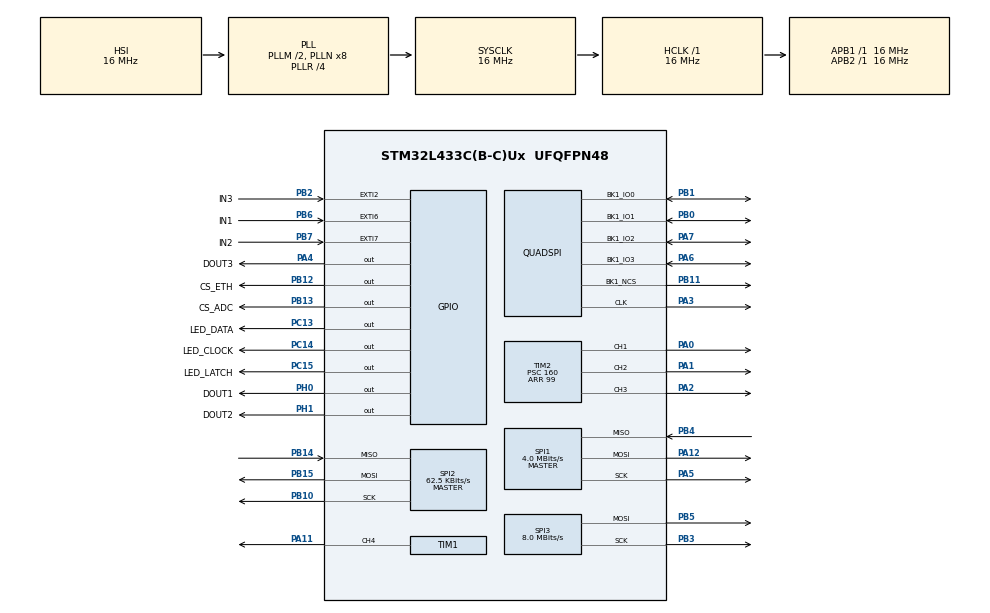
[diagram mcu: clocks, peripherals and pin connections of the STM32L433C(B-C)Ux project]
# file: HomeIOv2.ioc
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Dma.QUADSPI.2.Direction=DMA_PERIPH_TO_MEMORY
Dma.QUADSPI.2.Instance=DMA2_Channel7
Dma.QUADSPI.2.MemDataAlignment=DMA_MDATAALIGN_BYTE
Dma.QUADSPI.2.MemInc=DMA_MINC_ENABLE
Dma.QUADSPI.2.Mode=DMA_NORMAL
Dma.QUADSPI.2.PeriphDataAlignment=DMA_PDATAALIGN_BYTE
Dma.QUADSPI.2.PeriphInc=DMA_PINC_DISABLE
Dma.QUADSPI.2.Priority=DMA_PRIORITY_LOW
Dma.Request0=SPI2_RX
Dma.Request1=SPI2_TX
Dma.Request2=QUADSPI
Dma.Request3=SPI3_TX
Dma.SPI2_RX.0.Direction=DMA_PERIPH_TO_MEMORY
Dma.SPI2_RX.0.Instance=DMA1_Channel4
Dma.SPI2_RX.0.MemDataAlignment=DMA_MDATAALIGN_BYTE
Dma.SPI2_RX.0.MemInc=DMA_MINC_ENABLE
Dma.SPI2_RX.0.Mode=DMA_NORMAL
Dma.SPI2_RX.0.PeriphDataAlignment=DMA_PDATAALIGN_BYTE
Dma.SPI2_RX.0.PeriphInc=DMA_PINC_DISABLE
Dma.SPI2_RX.0.Priority=DMA_PRIORITY_LOW
Dma.SPI2_TX.1.Direction=DMA_MEMORY_TO_PERIPH
Dma.SPI2_TX.1.Instance=DMA1_Channel5
Dma.SPI2_TX.1.MemDataAlignment=DMA_MDATAALIGN_BYTE
Dma.SPI2_TX.1.MemInc=DMA_MINC_ENABLE
Dma.SPI2_TX.1.Mode=DMA_NORMAL
Dma.SPI2_TX.1.PeriphDataAlignment=DMA_PDATAALIGN_BYTE
Dma.SPI2_TX.1.PeriphInc=DMA_PINC_DISABLE
Dma.SPI2_TX.1.Priority=DMA_PRIORITY_LOW
Dma.SPI3_TX.3.Direction=DMA_MEMORY_TO_PERIPH
Dma.SPI3_TX.3.Instance=DMA2_Channel2
Dma.SPI3_TX.3.MemDataAlignment=DMA_MDATAALIGN_BYTE
Dma.SPI3_TX.3.MemInc=DMA_MINC_ENABLE
Dma.SPI3_TX.3.Mode=DMA_NORMAL
Dma.SPI3_TX.3.PeriphDataAlignment=DMA_PDATAALIGN_BYTE
Dma.SPI3_TX.3.PeriphInc=DMA_PINC_DISABLE
Dma.SPI3_TX.3.Priority=DMA_PRIORITY_LOW
Mcu.Family=STM32L4
Mcu.Name=STM32L433C(B-C)Ux
Mcu.Package=UFQFPN48
NVIC.DMA1_Channel4_IRQn=true\:0\:0\:false\:false\:true\:false\:true\:true
NVIC.DMA1_Channel5_IRQn=true\:0\:0\:false\:false\:true\:false\:true\:true
NVIC.DMA2_Channel2_IRQn=true\:0\:0\:false\:false\:true\:false\:true\:true
NVIC.DMA2_Channel7_IRQn=true\:0\:0\:false\:false\:true\:false\:true\:true
NVIC.EXTI2_IRQn=true\:0\:0\:false\:false\:true\:true\:true\:true
NVIC.EXTI9_5_IRQn=true\:0\:0\:false\:false\:true\:true\:true\:true
NVIC.PriorityGroup=NVIC_PRIORITYGROUP_4
NVIC.QUADSPI_IRQn=true\:0\:0\:false\:false\:true\:true\:true\:true
NVIC.TIM1_UP_TIM16_IRQn=true\:1\:0\:true\:false\:true\:true\:true\:true
PA0.Signal=S_TIM2_CH1
PA1.Signal=S_TIM2_CH2
PA11.Signal=S_TIM1_CH4
PA12.Mode=Full_Duplex_Master
PA12.Signal=SPI1_MOSI
PA2.Signal=S_TIM2_CH3
PA3.Mode=Single Bank 1
PA3.Signal=QUADSPI_CLK
PA4.GPIO_Label=DOUT3
PA4.Signal=GPIO_Output
PA5.Mode=Full_Duplex_Master
PA5.Signal=SPI1_SCK
PA6.Mode=Single Bank 1
PA6.Signal=QUADSPI_BK1_IO3
PA7.Mode=Single Bank 1
PA7.Signal=QUADSPI_BK1_IO2
PB0.Mode=Single Bank 1
PB0.Signal=QUADSPI_BK1_IO1
PB1.Mode=Single Bank 1
PB1.Signal=QUADSPI_BK1_IO0
PB10.Mode=Full_Duplex_Master
PB10.Signal=SPI2_SCK
PB11.Mode=Single Bank 1
PB11.Signal=QUADSPI_BK1_NCS
PB12.GPIO_Label=CS_ETH
PB12.Signal=GPIO_Output
PB13.GPIO_Label=CS_ADC
PB13.Signal=GPIO_Output
PB14.Mode=Full_Duplex_Master
PB14.Signal=SPI2_MISO
PB15.Mode=Full_Duplex_Master
PB15.Signal=SPI2_MOSI
PB2.GPIO_Label=IN3
PB2.GPIO_ModeDefaultEXTI=GPIO_MODE_IT_RISING_FALLING
PB2.GPIO_PuPd=GPIO_PULLUP
PB2.Signal=GPXTI2
PB3\ (JTDO-TRACESWO).Mode=TX_Only_Simplex_Unidirect_Master
PB3\ (JTDO-TRACESWO).Signal=SPI3_SCK
PB4\ (NJTRST).Mode=Full_Duplex_Master
PB4\ (NJTRST).Signal=SPI1_MISO
PB5.Mode=TX_Only_Simplex_Unidirect_Master
PB5.Signal=SPI3_MOSI
PB6.GPIO_Label=IN1
PB6.GPIO_ModeDefaultEXTI=GPIO_MODE_IT_RISING_FALLING
PB6.GPIO_PuPd=GPIO_PULLUP
PB6.Signal=GPXTI6
PB7.GPIO_Label=IN2
PB7.GPIO_ModeDefaultEXTI=GPIO_MODE_IT_RISING_FALLING
PB7.GPIO_PuPd=GPIO_PULLUP
PB7.Signal=GPXTI7
PC13.GPIO_Label=LED_DATA
PC13.Signal=GPIO_Output
PC14-OSC32_IN\ (PC14).GPIO_Label=LED_CLOCK
PC14-OSC32_IN\ (PC14).Signal=GPIO_Output
PC15-OSC32_OUT\ (PC15).GPIO_Label=LED_LATCH
PC15-OSC32_OUT\ (PC15).Signal=GPIO_Output
PH0-OSC_IN\ (PH0).GPIO_Label=DOUT1
PH0-OSC_IN\ (PH0).Signal=GPIO_Output
PH1-OSC_OUT\ (PH1).GPIO_Label=DOUT2
PH1-OSC_OUT\ (PH1).Signal=GPIO_Output
ProjectManager.HeapSize=0x200
ProjectManager.StackSize=0x400
ProjectManager.TargetToolchain=STM32CubeIDE
QUADSPI.FlashSize=31
RCC.ADCFreq_Value=32000000
RCC.AHBFreq_Value=16000000
RCC.APB1Freq_Value=16000000
RCC.APB1TimFreq_Value=16000000
RCC.APB2Freq_Value=16000000
RCC.APB2TimFreq_Value=16000000
RCC.CortexFreq_Value=16000000
RCC.HCLKFreq_Value=16000000
RCC.HSE_VALUE=8000000
RCC.HSI48_VALUE=48000000
RCC.HSI_VALUE=16000000
RCC.LSE_VALUE=32768
RCC.MSI_VALUE=4000000
RCC.PLLM=2
RCC.PLLR=RCC_PLLR_DIV4
RCC.PLLSourceVirtual=RCC_PLLSOURCE_HSI
RCC.SYSCLKFreq_VALUE=16000000
RCC.SYSCLKSource=RCC_SYSCLKSOURCE_PLLCLK
RCC.USBFreq_Value=32000000
RCC.VCOOutputFreq_Value=64000000
SH.S_TIM1_CH4.0=TIM1_CH4,PWM Generation4 CH4
SH.S_TIM2_CH1.0=TIM2_CH1,PWM Generation1 CH1
SH.S_TIM2_CH2.0=TIM2_CH2,PWM Generation2 CH2
SH.S_TIM2_CH3.0=TIM2_CH3,PWM Generation3 CH3
SPI1.BaudRatePrescaler=SPI_BAUDRATEPRESCALER_4
SPI1.CalculateBaudRate=4.0 MBits/s
SPI1.DataSize=SPI_DATASIZE_8BIT
SPI1.Direction=SPI_DIRECTION_2LINES
SPI1.Mode=SPI_MODE_MASTER
SPI1.VirtualType=VM_MASTER
SPI2.BaudRatePrescaler=SPI_BAUDRATEPRESCALER_256
SPI2.CLKPhase=SPI_PHASE_1EDGE
SPI2.CLKPolarity=SPI_POLARITY_LOW
SPI2.CalculateBaudRate=62.5 KBits/s
SPI2.DataSize=SPI_DATASIZE_8BIT
SPI2.Direction=SPI_DIRECTION_2LINES
SPI2.Mode=SPI_MODE_MASTER
SPI2.VirtualType=VM_MASTER
SPI3.BaudRatePrescaler=SPI_BAUDRATEPRESCALER_2
SPI3.CalculateBaudRate=8.0 MBits/s
SPI3.DataSize=SPI_DATASIZE_8BIT
SPI3.Direction=SPI_DIRECTION_2LINES
SPI3.Mode=SPI_MODE_MASTER
SPI3.VirtualType=VM_MASTER
TIM1.Channel-PWM\ Generation4\ CH4=TIM_CHANNEL_4
TIM1.Period=99
TIM1.Prescaler=8
TIM2.Channel-PWM\ Generation1\ CH1=TIM_CHANNEL_1
TIM2.Channel-PWM\ Generation2\ CH2=TIM_CHANNEL_2
TIM2.Channel-PWM\ Generation3\ CH3=TIM_CHANNEL_3
TIM2.Period=99
TIM2.Prescaler=160
TIM2.TIM_MasterOutputTrigger=TIM_TRGO_RESET
VP_TIM1_VS_ClockSourceINT.Mode=Internal
VP_TIM2_VS_ClockSourceINT.Mode=Internal
board=custom

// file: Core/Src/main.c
/* USER CODE BEGIN Header */
/**
 ******************************************************************************
 * @file           : main.c
 * @brief          : Main program body
 ******************************************************************************
 * @attention
 *
 * Copyright (c) 2023 STMicroelectronics.
 * All rights reserved.
 *
 * This software is licensed under terms that can be found in the LICENSE file
 * in the root directory of this software component.
 * If no LICENSE file comes with this software, it is provided AS-IS.
 *
 ******************************************************************************
 */
/* USER CODE END Header */
#include "main.h"

/* USER CODE BEGIN Includes */
#include "system.h"
/* USER CODE END Includes */

/* USER CODE BEGIN PTD */

static struct netif mchdrv_netif;
static enc_device_t mchdrv_hw;
//MQTT START

#define MQTT_SERVER_IP IPADDR_ANY
#define MQTT_SERVER_PORT 1883
/* USER CODE END PTD */

QSPI_HandleTypeDef hqspi;
DMA_HandleTypeDef hdma_quadspi;

SPI_HandleTypeDef hspi1;
SPI_HandleTypeDef hspi2;
SPI_HandleTypeDef hspi3;
DMA_HandleTypeDef hdma_spi2_rx;
DMA_HandleTypeDef hdma_spi2_tx;
DMA_HandleTypeDef hdma_spi3_tx;

TIM_HandleTypeDef htim1;
TIM_HandleTypeDef htim2;

void SystemClock_Config(void);
static void MX_GPIO_Init(void);
static void MX_DMA_Init(void);
static void MX_SPI1_Init(void);
static void MX_TIM2_Init(void);
static void MX_TIM1_Init(void);
static void MX_QUADSPI_Init(void);
static void MX_SPI2_Init(void);
static void MX_SPI3_Init(void);
/* USER CODE BEGIN PFP */
void mch_net_poll (void);

/* USER CODE END PFP */

/* USER CODE BEGIN 0 */

void mch_net_init (void)
{
  ip_addr_t mch_myip_addr; /* 192.168.1.2 */
  ip_addr_t gw_addr;
  ip_addr_t netmask; /* 192.168.1.1 */
  lwip_init ();

  mchdrv_netif.hwaddr_len = 6;
  /* demo mac address */
  mchdrv_netif.hwaddr[0] = 0x02; //Locally Administered OUI
  mchdrv_netif.hwaddr[1] = 0x32;
  mchdrv_netif.hwaddr[2] = (current_settings.device_id >> 24) & 0xFF;
  mchdrv_netif.hwaddr[3] = (current_settings.device_id >> 16) & 0xFF;
  mchdrv_netif.hwaddr[4] = (current_settings.device_id >> 8) & 0xFF;
  mchdrv_netif.hwaddr[5] = current_settings.device_id & 0xFF;

  IP4_ADDR(&mch_myip_addr, current_settings.ip_add[0], current_settings.ip_add[1], current_settings.ip_add[2], current_settings.ip_add[3]);
  IP4_ADDR(&gw_addr, current_settings.gateway[0], current_settings.gateway[1], current_settings.gateway[2], current_settings.gateway[3]);
  IP4_ADDR(&netmask, current_settings.netmask[0], current_settings.netmask[1], current_settings.netmask[2], current_settings.netmask[3]);

  // Add our netif to LWIP (netif_add calls our driver initialization function)
  if (netif_add (&mchdrv_netif, &mch_myip_addr, &netmask, &gw_addr, &mchdrv_hw,
		 mchdrv_init, ethernet_input) == NULL)
    {
      LWIP_ASSERT("mch_net_init: netif_add (mchdrv_init) failed\n", 0);
    }

  netif_set_default (&mchdrv_netif);
  netif_set_up (&mchdrv_netif);
}

void mch_net_poll (void)
{
  mchdrv_poll (&mchdrv_netif);
}

uint32_t sys_now (void)
{
  return HAL_GetTick ();
}
//mqtt end
/* USER CODE END 0 */

int main(void)
{

  /* MCU Configuration--------------------------------------------------------*/

  /* Reset of all peripherals, Initializes the Flash interface and the Systick. */
  HAL_Init();

  /* USER CODE BEGIN Init */
  HAL_Delay(1000);
  /* USER CODE END Init */

  /* Configure the system clock */
  SystemClock_Config();

  /* Initialize all configured peripherals */
  MX_GPIO_Init();
  MX_DMA_Init();
  MX_SPI1_Init();
  MX_TIM2_Init();
  MX_TIM1_Init();
  MX_QUADSPI_Init();
  MX_SPI2_Init();
  MX_SPI3_Init();
  /* USER CODE BEGIN 2 */

  Console_WARNING ("--RESET--"); //Used only during development. UART2 is PA2 pin, in normal condition PA2 is PWM output.
  system_init();

  IP4_ADDR(&ip_addr,current_settings.server_address[0], current_settings.server_address[1],current_settings.server_address[2], current_settings.server_address[3]);

  mch_net_init ();
  /* USER CODE END 2 */

  /* Infinite loop */
  /* USER CODE BEGIN WHILE */
  system_led(7,LED_STATE_BLINK);
  while (1)
    {
    /* USER CODE END WHILE */

    /* USER CODE BEGIN 3 */
      mch_net_poll ();
      sys_check_timeouts ();
      mqtt_client_t *client = mqtt_client_new();
      if (client != NULL)
	{
    	  mqtt_client_do_connect(client, FLAG_SUB);
	}
	   HAL_TIM_PWM_Start(&htim2, TIM_CHANNEL_1);
	   HAL_TIM_PWM_Start(&htim2, TIM_CHANNEL_2);
	   HAL_TIM_PWM_Start(&htim2, TIM_CHANNEL_3);
	   HAL_TIM_PWM_Start(&htim1, TIM_CHANNEL_4);
	   HAL_GPIO_WritePin(CS_ADC_GPIO_Port, CS_ADC_Pin, SET);
	   uint16_t counter;
	   flags.mqtt_connected=0;

      while (1)
	{
	  mch_net_poll ();
	  sys_check_timeouts ();
	counter++;
	if(counter==500 && flags.mqtt_connected==1)
	  {
	    system_check_state(client);
	  }
	if(counter==500) 	    counter=0;
	HAL_Delay(1);

	}
    }
  /* USER CODE END 3 */
}

void SystemClock_Config(void)
{
  RCC_OscInitTypeDef RCC_OscInitStruct = {0};
  RCC_ClkInitTypeDef RCC_ClkInitStruct = {0};

  /** Configure the main internal regulator output voltage
  */
  if (HAL_PWREx_ControlVoltageScaling(PWR_REGULATOR_VOLTAGE_SCALE1) != HAL_OK)
  {
    Error_Handler();
  }

  /** Initializes the RCC Oscillators according to the specified parameters
  * in the RCC_OscInitTypeDef structure.
  */
  RCC_OscInitStruct.OscillatorType = RCC_OSCILLATORTYPE_HSI;
  RCC_OscInitStruct.HSIState = RCC_HSI_ON;
  RCC_OscInitStruct.HSICalibrationValue = RCC_HSICALIBRATION_DEFAULT;
  RCC_OscInitStruct.PLL.PLLState = RCC_PLL_ON;
  RCC_OscInitStruct.PLL.PLLSource = RCC_PLLSOURCE_HSI;
  RCC_OscInitStruct.PLL.PLLM = 2;
  RCC_OscInitStruct.PLL.PLLN = 8;
  RCC_OscInitStruct.PLL.PLLP = RCC_PLLP_DIV7;
  RCC_OscInitStruct.PLL.PLLQ = RCC_PLLQ_DIV2;
  RCC_OscInitStruct.PLL.PLLR = RCC_PLLR_DIV4;
  if (HAL_RCC_OscConfig(&RCC_OscInitStruct) != HAL_OK)
  {
    Error_Handler();
  }

  /** Initializes the CPU, AHB and APB buses clocks
  */
  RCC_ClkInitStruct.ClockType = RCC_CLOCKTYPE_HCLK|RCC_CLOCKTYPE_SYSCLK
                              |RCC_CLOCKTYPE_PCLK1|RCC_CLOCKTYPE_PCLK2;
  RCC_ClkInitStruct.SYSCLKSource = RCC_SYSCLKSOURCE_PLLCLK;
  RCC_ClkInitStruct.AHBCLKDivider = RCC_SYSCLK_DIV1;
  RCC_ClkInitStruct.APB1CLKDivider = RCC_HCLK_DIV1;
  RCC_ClkInitStruct.APB2CLKDivider = RCC_HCLK_DIV1;

  if (HAL_RCC_ClockConfig(&RCC_ClkInitStruct, FLASH_LATENCY_0) != HAL_OK)
  {
    Error_Handler();
  }
}

static void MX_QUADSPI_Init(void)
{

  /* QUADSPI parameter configuration*/
  hqspi.Instance = QUADSPI;
  hqspi.Init.ClockPrescaler = 255;
  hqspi.Init.FifoThreshold = 1;
  hqspi.Init.SampleShifting = QSPI_SAMPLE_SHIFTING_NONE;
  hqspi.Init.FlashSize = 31;
  hqspi.Init.ChipSelectHighTime = QSPI_CS_HIGH_TIME_1_CYCLE;
  hqspi.Init.ClockMode = QSPI_CLOCK_MODE_0;
  hqspi.Init.FlashID = QSPI_FLASH_ID_1;
  hqspi.Init.DualFlash = QSPI_DUALFLASH_DISABLE;
  if (HAL_QSPI_Init(&hqspi) != HAL_OK)
  {
    Error_Handler();
  }

}

static void MX_SPI1_Init(void)
{

  /* SPI1 parameter configuration*/
  hspi1.Instance = SPI1;
  hspi1.Init.Mode = SPI_MODE_MASTER;
  hspi1.Init.Direction = SPI_DIRECTION_2LINES;
  hspi1.Init.DataSize = SPI_DATASIZE_8BIT;
  hspi1.Init.CLKPolarity = SPI_POLARITY_LOW;
  hspi1.Init.CLKPhase = SPI_PHASE_1EDGE;
  hspi1.Init.NSS = SPI_NSS_SOFT;
  hspi1.Init.BaudRatePrescaler = SPI_BAUDRATEPRESCALER_4;
  hspi1.Init.FirstBit = SPI_FIRSTBIT_MSB;
  hspi1.Init.TIMode = SPI_TIMODE_DISABLE;
  hspi1.Init.CRCCalculation = SPI_CRCCALCULATION_DISABLE;
  hspi1.Init.CRCPolynomial = 7;
  hspi1.Init.CRCLength = SPI_CRC_LENGTH_DATASIZE;
  hspi1.Init.NSSPMode = SPI_NSS_PULSE_ENABLE;
  if (HAL_SPI_Init(&hspi1) != HAL_OK)
  {
    Error_Handler();
  }

}

static void MX_SPI2_Init(void)
{

  /* SPI2 parameter configuration*/
  hspi2.Instance = SPI2;
  hspi2.Init.Mode = SPI_MODE_MASTER;
  hspi2.Init.Direction = SPI_DIRECTION_2LINES;
  hspi2.Init.DataSize = SPI_DATASIZE_8BIT;
  hspi2.Init.CLKPolarity = SPI_POLARITY_LOW;
  hspi2.Init.CLKPhase = SPI_PHASE_1EDGE;
  hspi2.Init.NSS = SPI_NSS_SOFT;
  hspi2.Init.BaudRatePrescaler = SPI_BAUDRATEPRESCALER_256;
  hspi2.Init.FirstBit = SPI_FIRSTBIT_MSB;
  hspi2.Init.TIMode = SPI_TIMODE_DISABLE;
  hspi2.Init.CRCCalculation = SPI_CRCCALCULATION_DISABLE;
  hspi2.Init.CRCPolynomial = 7;
  hspi2.Init.CRCLength = SPI_CRC_LENGTH_DATASIZE;
  hspi2.Init.NSSPMode = SPI_NSS_PULSE_ENABLE;
  if (HAL_SPI_Init(&hspi2) != HAL_OK)
  {
    Error_Handler();
  }

}

static void MX_SPI3_Init(void)
{

  /* SPI3 parameter configuration*/
  hspi3.Instance = SPI3;
  hspi3.Init.Mode = SPI_MODE_MASTER;
  hspi3.Init.Direction = SPI_DIRECTION_2LINES;
  hspi3.Init.DataSize = SPI_DATASIZE_8BIT;
  hspi3.Init.CLKPolarity = SPI_POLARITY_LOW;
  hspi3.Init.CLKPhase = SPI_PHASE_1EDGE;
  hspi3.Init.NSS = SPI_NSS_SOFT;
  hspi3.Init.BaudRatePrescaler = SPI_BAUDRATEPRESCALER_2;
  hspi3.Init.FirstBit = SPI_FIRSTBIT_MSB;
  hspi3.Init.TIMode = SPI_TIMODE_DISABLE;
  hspi3.Init.CRCCalculation = SPI_CRCCALCULATION_DISABLE;
  hspi3.Init.CRCPolynomial = 7;
  hspi3.Init.CRCLength = SPI_CRC_LENGTH_DATASIZE;
  hspi3.Init.NSSPMode = SPI_NSS_PULSE_ENABLE;
  if (HAL_SPI_Init(&hspi3) != HAL_OK)
  {
    Error_Handler();
  }

}

static void MX_TIM1_Init(void)
{

  TIM_ClockConfigTypeDef sClockSourceConfig = {0};
  TIM_MasterConfigTypeDef sMasterConfig = {0};
  TIM_OC_InitTypeDef sConfigOC = {0};
  TIM_BreakDeadTimeConfigTypeDef sBreakDeadTimeConfig = {0};

  htim1.Instance = TIM1;
  htim1.Init.Prescaler = 8;
  htim1.Init.CounterMode = TIM_COUNTERMODE_UP;
  htim1.Init.Period = 99;
  htim1.Init.ClockDivision = TIM_CLOCKDIVISION_DIV1;
  htim1.Init.RepetitionCounter = 0;
  htim1.Init.AutoReloadPreload = TIM_AUTORELOAD_PRELOAD_DISABLE;
  if (HAL_TIM_Base_Init(&htim1) != HAL_OK)
  {
    Error_Handler();
  }
  sClockSourceConfig.ClockSource = TIM_CLOCKSOURCE_INTERNAL;
  if (HAL_TIM_ConfigClockSource(&htim1, &sClockSourceConfig) != HAL_OK)
  {
    Error_Handler();
  }
  if (HAL_TIM_PWM_Init(&htim1) != HAL_OK)
  {
    Error_Handler();
  }
  sMasterConfig.MasterOutputTrigger = TIM_TRGO_RESET;
  sMasterConfig.MasterOutputTrigger2 = TIM_TRGO2_RESET;
  sMasterConfig.MasterSlaveMode = TIM_MASTERSLAVEMODE_DISABLE;
  if (HAL_TIMEx_MasterConfigSynchronization(&htim1, &sMasterConfig) != HAL_OK)
  {
    Error_Handler();
  }
  sConfigOC.OCMode = TIM_OCMODE_PWM1;
  sConfigOC.Pulse = 0;
  sConfigOC.OCPolarity = TIM_OCPOLARITY_HIGH;
  sConfigOC.OCFastMode = TIM_OCFAST_DISABLE;
  sConfigOC.OCIdleState = TIM_OCIDLESTATE_RESET;
  sConfigOC.OCNIdleState = TIM_OCNIDLESTATE_RESET;
  if (HAL_TIM_PWM_ConfigChannel(&htim1, &sConfigOC, TIM_CHANNEL_4) != HAL_OK)
  {
    Error_Handler();
  }
  sBreakDeadTimeConfig.OffStateRunMode = TIM_OSSR_DISABLE;
  sBreakDeadTimeConfig.OffStateIDLEMode = TIM_OSSI_DISABLE;
  sBreakDeadTimeConfig.LockLevel = TIM_LOCKLEVEL_OFF;
  sBreakDeadTimeConfig.DeadTime = 0;
  sBreakDeadTimeConfig.BreakState = TIM_BREAK_DISABLE;
  sBreakDeadTimeConfig.BreakPolarity = TIM_BREAKPOLARITY_HIGH;
  sBreakDeadTimeConfig.BreakFilter = 0;
  sBreakDeadTimeConfig.Break2State = TIM_BREAK2_DISABLE;
  sBreakDeadTimeConfig.Break2Polarity = TIM_BREAK2POLARITY_HIGH;
  sBreakDeadTimeConfig.Break2Filter = 0;
  sBreakDeadTimeConfig.AutomaticOutput = TIM_AUTOMATICOUTPUT_DISABLE;
  if (HAL_TIMEx_ConfigBreakDeadTime(&htim1, &sBreakDeadTimeConfig) != HAL_OK)
  {
    Error_Handler();
  }
  HAL_TIM_MspPostInit(&htim1);

}

static void MX_TIM2_Init(void)
{

  TIM_ClockConfigTypeDef sClockSourceConfig = {0};
  TIM_MasterConfigTypeDef sMasterConfig = {0};
  TIM_OC_InitTypeDef sConfigOC = {0};

  htim2.Instance = TIM2;
  htim2.Init.Prescaler = 160;
  htim2.Init.CounterMode = TIM_COUNTERMODE_UP;
  htim2.Init.Period = 99;
  htim2.Init.ClockDivision = TIM_CLOCKDIVISION_DIV1;
  htim2.Init.AutoReloadPreload = TIM_AUTORELOAD_PRELOAD_DISABLE;
  if (HAL_TIM_Base_Init(&htim2) != HAL_OK)
  {
    Error_Handler();
  }
  sClockSourceConfig.ClockSource = TIM_CLOCKSOURCE_INTERNAL;
  if (HAL_TIM_ConfigClockSource(&htim2, &sClockSourceConfig) != HAL_OK)
  {
    Error_Handler();
  }
  if (HAL_TIM_PWM_Init(&htim2) != HAL_OK)
  {
    Error_Handler();
  }
  sMasterConfig.MasterOutputTrigger = TIM_TRGO_RESET;
  sMasterConfig.MasterSlaveMode = TIM_MASTERSLAVEMODE_DISABLE;
  if (HAL_TIMEx_MasterConfigSynchronization(&htim2, &sMasterConfig) != HAL_OK)
  {
    Error_Handler();
  }
  sConfigOC.OCMode = TIM_OCMODE_PWM1;
  sConfigOC.Pulse = 0;
  sConfigOC.OCPolarity = TIM_OCPOLARITY_HIGH;
  sConfigOC.OCFastMode = TIM_OCFAST_DISABLE;
  if (HAL_TIM_PWM_ConfigChannel(&htim2, &sConfigOC, TIM_CHANNEL_1) != HAL_OK)
  {
    Error_Handler();
  }
  if (HAL_TIM_PWM_ConfigChannel(&htim2, &sConfigOC, TIM_CHANNEL_2) != HAL_OK)
  {
    Error_Handler();
  }
  if (HAL_TIM_PWM_ConfigChannel(&htim2, &sConfigOC, TIM_CHANNEL_3) != HAL_OK)
  {
    Error_Handler();
  }
  HAL_TIM_MspPostInit(&htim2);

}

static void MX_DMA_Init(void)
{

  /* DMA controller clock enable */
  __HAL_RCC_DMA1_CLK_ENABLE();
  __HAL_RCC_DMA2_CLK_ENABLE();

  /* DMA interrupt init */
  /* DMA1_Channel4_IRQn interrupt configuration */
  HAL_NVIC_SetPriority(DMA1_Channel4_IRQn, 0, 0);
  HAL_NVIC_EnableIRQ(DMA1_Channel4_IRQn);
  /* DMA1_Channel5_IRQn interrupt configuration */
  HAL_NVIC_SetPriority(DMA1_Channel5_IRQn, 0, 0);
  HAL_NVIC_EnableIRQ(DMA1_Channel5_IRQn);
  /* DMA2_Channel2_IRQn interrupt configuration */
  HAL_NVIC_SetPriority(DMA2_Channel2_IRQn, 0, 0);
  HAL_NVIC_EnableIRQ(DMA2_Channel2_IRQn);
  /* DMA2_Channel7_IRQn interrupt configuration */
  HAL_NVIC_SetPriority(DMA2_Channel7_IRQn, 0, 0);
  HAL_NVIC_EnableIRQ(DMA2_Channel7_IRQn);

}

static void MX_GPIO_Init(void)
{
  GPIO_InitTypeDef GPIO_InitStruct = {0};

  /* GPIO Ports Clock Enable */
  __HAL_RCC_GPIOC_CLK_ENABLE();
  __HAL_RCC_GPIOH_CLK_ENABLE();
  __HAL_RCC_GPIOA_CLK_ENABLE();
  __HAL_RCC_GPIOB_CLK_ENABLE();

  /*Configure GPIO pin Output Level */
  HAL_GPIO_WritePin(GPIOC, LED_DATA_Pin|LED_CLOCK_Pin|LED_LATCH_Pin, GPIO_PIN_RESET);

  /*Configure GPIO pin Output Level */
  HAL_GPIO_WritePin(GPIOH, DOUT1_Pin|DOUT2_Pin, GPIO_PIN_RESET);

  /*Configure GPIO pin Output Level */
  HAL_GPIO_WritePin(DOUT3_GPIO_Port, DOUT3_Pin, GPIO_PIN_RESET);

  /*Configure GPIO pin Output Level */
  HAL_GPIO_WritePin(GPIOB, CS_ETH_Pin|CS_ADC_Pin, GPIO_PIN_RESET);

  /*Configure GPIO pins : LED_DATA_Pin LED_CLOCK_Pin LED_LATCH_Pin */
  GPIO_InitStruct.Pin = LED_DATA_Pin|LED_CLOCK_Pin|LED_LATCH_Pin;
  GPIO_InitStruct.Mode = GPIO_MODE_OUTPUT_PP;
  GPIO_InitStruct.Pull = GPIO_NOPULL;
  GPIO_InitStruct.Speed = GPIO_SPEED_FREQ_LOW;
  HAL_GPIO_Init(GPIOC, &GPIO_InitStruct);

  /*Configure GPIO pins : DOUT1_Pin DOUT2_Pin */
  GPIO_InitStruct.Pin = DOUT1_Pin|DOUT2_Pin;
  GPIO_InitStruct.Mode = GPIO_MODE_OUTPUT_PP;
  GPIO_InitStruct.Pull = GPIO_NOPULL;
  GPIO_InitStruct.Speed = GPIO_SPEED_FREQ_LOW;
  HAL_GPIO_Init(GPIOH, &GPIO_InitStruct);

  /*Configure GPIO pin : DOUT3_Pin */
  GPIO_InitStruct.Pin = DOUT3_Pin;
  GPIO_InitStruct.Mode = GPIO_MODE_OUTPUT_PP;
  GPIO_InitStruct.Pull = GPIO_NOPULL;
  GPIO_InitStruct.Speed = GPIO_SPEED_FREQ_LOW;
  HAL_GPIO_Init(DOUT3_GPIO_Port, &GPIO_InitStruct);

  /*Configure GPIO pins : IN3_Pin IN1_Pin IN2_Pin */
  GPIO_InitStruct.Pin = IN3_Pin|IN1_Pin|IN2_Pin;
  GPIO_InitStruct.Mode = GPIO_MODE_IT_RISING_FALLING;
  GPIO_InitStruct.Pull = GPIO_PULLUP;
  HAL_GPIO_Init(GPIOB, &GPIO_InitStruct);

  /*Configure GPIO pins : CS_ETH_Pin CS_ADC_Pin */
  GPIO_InitStruct.Pin = CS_ETH_Pin|CS_ADC_Pin;
  GPIO_InitStruct.Mode = GPIO_MODE_OUTPUT_PP;
  GPIO_InitStruct.Pull = GPIO_NOPULL;
  GPIO_InitStruct.Speed = GPIO_SPEED_FREQ_LOW;
  HAL_GPIO_Init(GPIOB, &GPIO_InitStruct);

  /* EXTI interrupt init*/
  HAL_NVIC_SetPriority(EXTI2_IRQn, 0, 0);
  HAL_NVIC_EnableIRQ(EXTI2_IRQn);

  HAL_NVIC_SetPriority(EXTI9_5_IRQn, 0, 0);
  HAL_NVIC_EnableIRQ(EXTI9_5_IRQn);

}

void Error_Handler(void)
{
  /* USER CODE BEGIN Error_Handler_Debug */
  /* User can add his own implementation to report the HAL error return state */
  __disable_irq ();
  while (1)
    {
    }
  /* USER CODE END Error_Handler_Debug */
}
